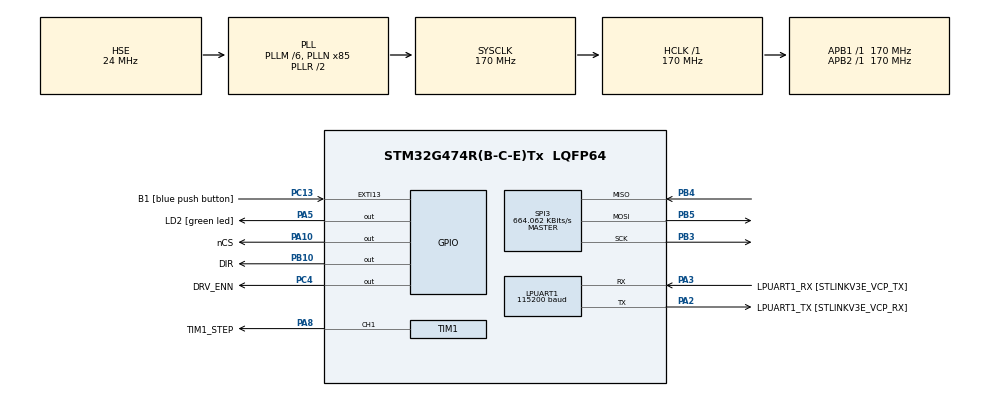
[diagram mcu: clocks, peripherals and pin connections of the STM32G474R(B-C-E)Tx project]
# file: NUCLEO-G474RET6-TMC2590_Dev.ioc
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LPUART1.BaudRate=115200
LPUART1.WordLength=UART_WORDLENGTH_8B
Mcu.Family=STM32G4
Mcu.Name=STM32G474R(B-C-E)Tx
Mcu.Package=LQFP64
NVIC.EXTI15_10_IRQn=true\:0\:0\:false\:false\:true\:true\:true\:true
NVIC.PriorityGroup=NVIC_PRIORITYGROUP_4
NVIC.TIM2_IRQn=true\:0\:0\:false\:false\:true\:true\:true\:true
PA10.GPIO_Label=nCS
PA10.Signal=GPIO_Output
PA13.GPIO_Label=T_SWDIO
PA13.Mode=Serial_Wire
PA13.Signal=SYS_JTMS-SWDIO
PA14.GPIO_Label=T_SWCLK
PA14.Mode=Serial_Wire
PA14.Signal=SYS_JTCK-SWCLK
PA2.GPIO_Label=LPUART1_TX [STLINKV3E_VCP_RX]
PA2.Mode=Asynchronous
PA2.Signal=LPUART1_TX
PA3.GPIO_Label=LPUART1_RX [STLINKV3E_VCP_TX]
PA3.Mode=Asynchronous
PA3.Signal=LPUART1_RX
PA5.GPIO_Label=LD2 [green led]
PA5.Signal=GPIO_Output
PA8.GPIO_Label=TIM1_STEP
PA8.Signal=S_TIM1_CH1
PB10.GPIO_Label=DIR
PB10.Signal=GPIO_Output
PB3.GPIO_Speed=GPIO_SPEED_FREQ_VERY_HIGH
PB3.Mode=Full_Duplex_Master
PB3.Signal=SPI3_SCK
PB4.GPIO_Speed=GPIO_SPEED_FREQ_VERY_HIGH
PB4.Mode=Full_Duplex_Master
PB4.Signal=SPI3_MISO
PB5.GPIO_Speed=GPIO_SPEED_FREQ_HIGH
PB5.Mode=Full_Duplex_Master
PB5.Signal=SPI3_MOSI
PC13.GPIO_Label=B1 [blue push button]
PC13.Signal=GPXTI13
PC14-OSC32_IN.Mode=LSE-External-Oscillator
PC14-OSC32_IN.Signal=RCC_OSC32_IN
PC15-OSC32_OUT.Mode=LSE-External-Oscillator
PC15-OSC32_OUT.Signal=RCC_OSC32_OUT
PC4.GPIO_Label=DRV_ENN
PC4.Signal=GPIO_Output
PF0-OSC_IN.Mode=HSE-External-Oscillator
PF0-OSC_IN.Signal=RCC_OSC_IN
PF1-OSC_OUT.Mode=HSE-External-Oscillator
PF1-OSC_OUT.Signal=RCC_OSC_OUT
ProjectManager.HeapSize=0x200
ProjectManager.StackSize=0x400
ProjectManager.TargetToolchain=STM32CubeIDE
RCC.ADC12Freq_Value=170000000
RCC.ADC345Freq_Value=170000000
RCC.AHBFreq_Value=170000000
RCC.APB1Freq_Value=170000000
RCC.APB1TimFreq_Value=170000000
RCC.APB2Freq_Value=170000000
RCC.APB2TimFreq_Value=170000000
RCC.CortexFreq_Value=170000000
RCC.EXTERNAL_CLOCK_VALUE=12288000
RCC.HCLKFreq_Value=170000000
RCC.HSE_VALUE=24000000
RCC.HSI48_VALUE=48000000
RCC.HSI_VALUE=16000000
RCC.PLLM=RCC_PLLM_DIV6
RCC.PLLN=85
RCC.PLLSourceVirtual=RCC_PLLSOURCE_HSE
RCC.RTCClockSelection=RCC_RTCCLKSOURCE_LSE
RCC.SYSCLKFreq_VALUE=170000000
RCC.SYSCLKSource=RCC_SYSCLKSOURCE_PLLCLK
RCC.USBFreq_Value=170000000
RCC.VCOOutputFreq_Value=340000000
SH.S_TIM1_CH1.0=TIM1_CH1,PWM Generation1 CH1
SPI3.BaudRatePrescaler=SPI_BAUDRATEPRESCALER_256
SPI3.CLKPhase=SPI_PHASE_1EDGE
SPI3.CLKPolarity=SPI_POLARITY_LOW
SPI3.CalculateBaudRate=664.062 KBits/s
SPI3.DataSize=SPI_DATASIZE_8BIT
SPI3.Direction=SPI_DIRECTION_2LINES
SPI3.Mode=SPI_MODE_MASTER
SPI3.VirtualType=VM_MASTER
TIM1.Channel-PWM\ Generation1\ CH1=TIM_CHANNEL_1
TIM1.PeriodNoDither=500
TIM1.Prescaler=17000
TIM1.PulseNoDither_1=500
TIM2.PeriodNoDither=20
TIM2.Prescaler=170
VP_SYS_VS_DBSignals.Mode=DisableDeadBatterySignals
VP_TIM2_VS_ClockSourceINT.Mode=Internal
board=NUCLEO-G474RE

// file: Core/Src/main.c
/* USER CODE BEGIN Header */
/**
 ******************************************************************************
 * @file           : main.c
 * @brief          : Main program body
 ******************************************************************************
 * @attention
 *
 * Copyright (c) 2023 STMicroelectronics.
 * All rights reserved.
 *
 * This software is licensed under terms that can be found in the LICENSE file
 * in the root directory of this software component.
 * If no LICENSE file comes with this software, it is provided AS-IS.
 *
 ******************************************************************************
 */
/* USER CODE END Header */
#include "main.h"
#include "usart.h"
#include "spi.h"
#include "tim.h"
#include "gpio.h"

/* USER CODE BEGIN Includes */
#include "tmc2590.h"
#include "stepper.h"
/* USER CODE END Includes */

void SystemClock_Config(void);

int main(void)
{

  /* MCU Configuration--------------------------------------------------------*/

  /* Reset of all peripherals, Initializes the Flash interface and the Systick. */
  HAL_Init();

  /* USER CODE BEGIN Init */
  Stepper stepper1;
  Stepper stepper2;
  Stepper stepper3;
  /* USER CODE END Init */

  /* Configure the system clock */
  SystemClock_Config();

  /* Initialize all configured peripherals */
  MX_GPIO_Init();
  MX_LPUART1_UART_Init();
  MX_TIM1_Init();
  MX_SPI3_Init();
  MX_TIM2_Init();
  /* USER CODE BEGIN 2 */
//	HAL_UART_Transmit(&hlpuart1, (uint8_t *)"*********************\r\n", 23, 100);
//	HAL_UART_Transmit(&hlpuart1, (uint8_t *)"* TMC2590 Test Code *\r\n", 23, 100);
//	HAL_UART_Transmit(&hlpuart1, (uint8_t *)"*********************\r\n", 23, 100);

  	uint16_t order = 90;
	tmc2590_Init(&htmc2590, &hspi3, nCS_GPIO_Port, nCS_Pin, DRV_ENN_GPIO_Port, DRV_ENN_Pin);

	// Code for position captor
	float receivedData = readAnalogValue();
	if (receivedData > 500)
	  {
		HAL_UART_Transmit(&huart3, (uint8_t *)"* TMC2590 Test Code *\r\n", 23, 100); // if captor is pushed
	  }
	else
	  {
		HAL_UART_Transmit(&huart3, (uint8_t *)"*********************\r\n", 23, 100); // else
	  }
	  HAL_Delay(1000);

	  sendOrderStepper(0, &stepper1);
	  stepper_Init(&stepper1);
	  HAL_Delay(1000);

  /* USER CODE END 2 */

  /* Infinite loop */
  /* USER CODE BEGIN WHILE */

	while (1)
	{

		// Add code to choose nCS

		// On va définir moteur 1/2/3 pour les steppers
		// Moteur 4/5/6 pour les autres

		sendOrderStepper(order,&stepper1);

		HAL_Delay(1000);
		//tmc2590_dumpRegister(&htmc2590);  //Report doesn't work - Fail to turn if ON

//		sendOrderStepper(-order,stepper1);
//
//		HAL_Delay(1000);

		//tmc_2590_Select(int number_motor);

		/*if(index_sin_loop < 256){
			currentCoilA = sinTable[index_sin_loop];
			currentCoilB = sinTable[256-index_sin_loop];
			polarityCoilA = 0;
			polarityCoilB = 1;
		}
		else if(index_sin_loop < 512){
			currentCoilA = sinTable[512-index_sin_loop];
			currentCoilB = sinTable[index_sin_loop-256];
			polarityCoilA = 0;
			polarityCoilB = 0;
		}
		else if(index_sin_loop < 768){
			currentCoilA = sinTable[index_sin_loop-512];
			currentCoilB = sinTable[768-index_sin_loop];
			polarityCoilA = 1;
			polarityCoilB = 0;
		}
		else{
			currentCoilA = sinTable[1024-index_sin_loop];
			currentCoilB = sinTable[index_sin_loop-768];
			polarityCoilA = 1;
			polarityCoilB = 1;
		}

		drvCtrlCommand = (polarityCoilA << 17) | (currentCoilA << 9) | (polarityCoilB << 8) | (currentCoilB << 0);
		tmc2590_SetTxBufferInt32(&htmc2590, drvCtrlCommand);
		tmc2590_TransmitReceive(&htmc2590, TMC2590_CMD_SIZE); */
		//tmc2590_PrintReport(&htmc2590);

		//		tmc2590_SetTxBuffer(&htmc2590, pData, TMC2590_CMD_SIZE);
		//		tmc2590_TransmitReceive(&htmc2590, TMC2590_CMD_SIZE);
		//		tmc2590_PrintReport(&htmc2590);

		//		tmc2590_dumpRegister(&htmc2590);
		//		0x3FE00;
		//		0x001FF;
		//		0x1FE00;
		//		0x000FF;

		//		tmc2590_SetTxBufferInt32(&htmc2590, 0x3FE00);
		//		tmc2590_TransmitReceive(&htmc2590, TMC2590_CMD_SIZE);
		//		HAL_Delay(1);
		//		tmc2590_SetTxBufferInt32(&htmc2590, 0x001FF);
		//		tmc2590_TransmitReceive(&htmc2590, TMC2590_CMD_SIZE);
		//		HAL_Delay(1);
		//		tmc2590_SetTxBufferInt32(&htmc2590, 0x1FE00);
		//		tmc2590_TransmitReceive(&htmc2590, TMC2590_CMD_SIZE);
		//		HAL_Delay(1);
		//		tmc2590_SetTxBufferInt32(&htmc2590, 0x000FF);
		//		tmc2590_TransmitReceive(&htmc2590, TMC2590_CMD_SIZE);
		//		HAL_Delay(1);

		//		HAL_Delay(100);
    /* USER CODE END WHILE */

	}
}

void SystemClock_Config(void)
{
  RCC_OscInitTypeDef RCC_OscInitStruct = {0};
  RCC_ClkInitTypeDef RCC_ClkInitStruct = {0};

  /** Configure the main internal regulator output voltage
  */
  HAL_PWREx_ControlVoltageScaling(PWR_REGULATOR_VOLTAGE_SCALE1_BOOST);

  /** Initializes the RCC Oscillators according to the specified parameters
  * in the RCC_OscInitTypeDef structure.
  */
  RCC_OscInitStruct.OscillatorType = RCC_OSCILLATORTYPE_HSE;
  RCC_OscInitStruct.HSEState = RCC_HSE_ON;
  RCC_OscInitStruct.PLL.PLLState = RCC_PLL_ON;
  RCC_OscInitStruct.PLL.PLLSource = RCC_PLLSOURCE_HSE;
  RCC_OscInitStruct.PLL.PLLM = RCC_PLLM_DIV6;
  RCC_OscInitStruct.PLL.PLLN = 85;
  RCC_OscInitStruct.PLL.PLLP = RCC_PLLP_DIV2;
  RCC_OscInitStruct.PLL.PLLQ = RCC_PLLQ_DIV2;
  RCC_OscInitStruct.PLL.PLLR = RCC_PLLR_DIV2;
  if (HAL_RCC_OscConfig(&RCC_OscInitStruct) != HAL_OK)
  {
    Error_Handler();
  }

  /** Initializes the CPU, AHB and APB buses clocks
  */
  RCC_ClkInitStruct.ClockType = RCC_CLOCKTYPE_HCLK|RCC_CLOCKTYPE_SYSCLK
                              |RCC_CLOCKTYPE_PCLK1|RCC_CLOCKTYPE_PCLK2;
  RCC_ClkInitStruct.SYSCLKSource = RCC_SYSCLKSOURCE_PLLCLK;
  RCC_ClkInitStruct.AHBCLKDivider = RCC_SYSCLK_DIV1;
  RCC_ClkInitStruct.APB1CLKDivider = RCC_HCLK_DIV1;
  RCC_ClkInitStruct.APB2CLKDivider = RCC_HCLK_DIV1;

  if (HAL_RCC_ClockConfig(&RCC_ClkInitStruct, FLASH_LATENCY_4) != HAL_OK)
  {
    Error_Handler();
  }
}

void Error_Handler(void)
{
	__disable_irq();
	while (1)
	{
	}
}
